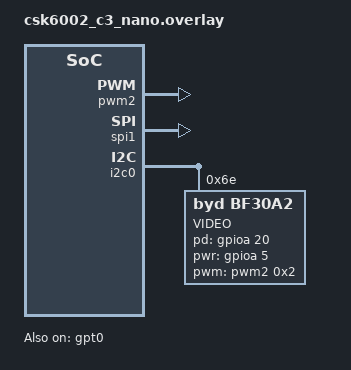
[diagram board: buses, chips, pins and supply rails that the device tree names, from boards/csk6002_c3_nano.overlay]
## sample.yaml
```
sample:
  description: Video ap sample, the simplest Zephyr
    application
  name: video ap
common:
    tags: introduction
    integration_platforms:
      - native_posix
    harness: console
    harness_config:
      type: one_line
      regex:
        - "video ap! (.*)"
```

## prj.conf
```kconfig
# nothing here
CONFIG_MINIMAL_LIBC_RAND=y
CONFIG_GPIO=y
CONFIG_I2C=y
CONFIG_SPI=y
CONFIG_DMA=y
CONFIG_PWM=y
CONFIG_VIDEO=y
CONFIG_VIDEO_BF30A2=y
CONFIG_KERNEL_MEM_POOL=y
CONFIG_STDOUT_CONSOLE=y
CONFIG_PRINTK=y
CONFIG_LOG=y
CONFIG_LOG_PRINTK=y
CONFIG_LOG_MODE_IMMEDIATE=y
CONFIG_PWM_LOG_LEVEL_DBG=y
CONFIG_SPI_SLAVE=y
CONFIG_SPI_RX_DMA=y
CONFIG_HEAP_MEM_POOL_SIZE=81920
CONFIG_MAIN_STACK_SIZE=40960

CONFIG_SPI_SLAVE=y
CONFIG_SPI_RX_DMA=y

CONFIG_VIDEO_BUFFER_POOL_SZ_MAX=30720
CONFIG_UART_INTERRUPT_DRIVEN=y
CONFIG_IPM=y
CONFIG_ASSERT=y

CONFIG_IDLE_STACK_SIZE=8192
CONFIG_ISR_STACK_SIZE=8192
```

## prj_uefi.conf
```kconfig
CONFIG_QEMU_UEFI_BOOT=y
CONFIG_BUILD_OUTPUT_EFI=y
CONFIG_SRAM_SIZE=204800
CONFIG_ACPI=y
```

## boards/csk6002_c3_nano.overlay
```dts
&csk6002_c3_nano_pinctrl{

                pinctrl_pwm2_default: pwm2_default{
                    pinctrls = <&pinmuxb 6 11>;
                };

                pinctrl_i2c0_scl_default: i2c0_scl_default{
                        pinctrls = <&pinmuxb 2 8>;
                };
                
                pinctrl_i2c0_sda_default: i2c0_sda_default{
                        pinctrls = <&pinmuxb 3 8>;
                };

                pinctrl_spi1_sclk_default: spi1_sclk_default {
                    pinctrls = < &pinmuxb 0 7 >;
                };

                pinctrl_spi1_mosi_default: spi1_mosi_default {
                    pinctrls = < &pinmuxb 1 7 >;
                };

                pinctrl_spi1_miso_default: spi1_miso_default {
                    pinctrls = < &pinmuxa 20 7 >;
                };

                pinctrl_spi1_cs_default: spi1_cs_default {
                    pinctrls = < &pinmuxa 9 7 >;
                };

};

&gpt0 {
	status = "okay";

    pwm5: pwm5 {
        status = "disabled";
    };

	pwm2: pwm2 {
        clock-prescaler = <1>;
        status = "okay";
        pinctrl-0 = <&pinctrl_pwm2_default>; 
        pinctrl-names = "default";
    };
};

&spi0 {
    status = "disabled";
};

&spi1 {
    status = "okay";
    spi-max-frequency = <100000000>;
    pinctrl-0 = <&pinctrl_spi1_sclk_default &pinctrl_spi1_mosi_default &pinctrl_spi1_miso_default &pinctrl_spi1_cs_default>; 
	pinctrl-names = "default";
};

&i2c0 {
        status = "okay";
        pinctrl-0 = <&pinctrl_i2c0_scl_default &pinctrl_i2c0_sda_default>; 
        pinctrl-names = "default";

        bf30a2: bf30a2@6e {
            compatible = "byd,bf30a2";
            status = "okay";
            label = "VIDEO";
            reg = <0x6e>;
            pd-gpios = <&gpioa 20 0>;
            pwr-gpios = <&gpioa 5 0>;
            product-id = <0x3b02>;
            pwms = <&pwm2 0x2 0x0>;
            xclk-freq = <25000>;
            spi = <&spi1>;
        };
};
```

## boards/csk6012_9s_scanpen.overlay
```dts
&i2c0 {
        status = "okay";
        pinctrl-0 = <&pinctrl_i2c0_scl_default &pinctrl_i2c0_sda_default>; 
        pinctrl-names = "default";

        bf30a2: bf30a2@6e {
            compatible = "byd,bf30a2";
            status = "okay";
            label = "VIDEO";
            reg = <0x6e>;
            pd-gpios = <&gpioa 1 0>;
            pwr-gpios = <&gpioa 9 0>;
            product-id = <0x3b02>;
            spi = <&spi0>;
            pwms = <&pwm2 0x2 0x0>;
            xclk-freq = <12500>;
            csk6-spec;
        };
};

&gpt0 {
	status = "okay";

	pwm2: pwm2 {
        clock-prescaler = <1>;
        status = "okay";
        pinctrl-0 = <&pinctrl_pwm2_default>; 
        pinctrl-names = "default";
    };
};

&csk6012_9s_scanpen_pinctrl {

                pinctrl_pwm2_default: pwm2_default{
                    pinctrls = <&pinmuxb 6 11>;
                };

                pinctrl_i2c0_scl_default: i2c0_scl_default{
                        pinctrls = <&pinmuxb 2 8>;
                };
                
                pinctrl_i2c0_sda_default: i2c0_sda_default{
                        pinctrls = <&pinmuxb 3 8>;
                };
};
```

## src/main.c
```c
/*
 * Copyright (c) 2012-2014 Wind River Systems, Inc.
 *
 * SPDX-License-Identifier: Apache-2.0
 */

#include <zephyr.h>
#include <sys/printk.h>

#include <cache.h>
#include <drivers/video.h>
#include <device.h>

#include "venus_ap.h"
#include "cmn_sysctrl_reg_venus.h"
#include "PSRAMManager.h"

#include <logging/log.h>
#include <drivers/uart.h>
#include <drivers/ipm.h>

LOG_MODULE_REGISTER(main, 4);

#define VIDEO_DEV DT_LABEL(DT_INST(0, byd_bf30a2))

#if !DT_PROP(DT_INST(0, byd_bf30a2), csk6_spec)
#define TEST_AT_CP 1
#else
#define TEST_AT_CP 0
#endif

#if !TEST_AT_CP

#define CP_BOOT_ADDRESS 0x60000000
#define SYSCTRL_RESET_CP (0xCAFE000B)
#define SYSCTRL_RELEASE_CP (0xCAFE100B)
#define SYSCTRL_RESET_NPU (0xCAFE000C)
#define CP_PSRAM_BASE (0x68400000)
#define AP_PSRAM_BASE (0x30000000)

#define CP_FW_ADDR (0x18000000 + 0x00200000)
#define CP_FW_LEN 500000

// void prepare_cp_run()
// {
// 	PSRAM_Initialize();

// 	SYSCFG_RegDef *cmn_sys_ctrl = (SYSCFG_RegDef *)CMN_SYSCTRL_BASE;

// 	// set boot address
// 	cmn_sys_ctrl->REG_CP_CTRL2.all = CP_BOOT_ADDRESS;
// 	cmn_sys_ctrl->REG_CP_CTRL1.bit.CP_STAT_VECTOR_SEL = 0x1;

// 	// stall HIFI4
// 	cmn_sys_ctrl->REG_CP_CTRL1.bit.CP_HIFI4_RUNSTALL = 0x1;

// 	// release CP & NPU
// 	cmn_sys_ctrl->REG_SW_RESET_CP.all = SYSCTRL_RELEASE_CP;
// 	if (cmn_sys_ctrl->REG_SW_RESET_NPU.all) { // = 1 NPU reset
// 		cmn_sys_ctrl->REG_SW_RESET_NPU.all = SYSCTRL_RESET_NPU;
// 	}

// 	__DMB();
//     printk("Copy Image, %X->%X, size:%u.\n", CP_FW_ADDR, AP_PSRAM_BASE, CP_FW_LEN);
//     memcpy((void *)AP_PSRAM_BASE, (void *)CP_FW_ADDR, CP_FW_LEN);

//     sys_cache_data_range((void *)AP_PSRAM_BASE, CP_FW_LEN, K_CACHE_WB);
// 	__DSB();

// 	// run cp
// 	cmn_sys_ctrl->REG_SW_RESET_CP.all = SYSCTRL_RESET_CP;
// 	cmn_sys_ctrl->REG_SW_RESET_CP.all = SYSCTRL_RELEASE_CP;
// 	cmn_sys_ctrl->REG_CP_CTRL1.bit.CP_HIFI4_RUNSTALL = 0x0;

// 	printk("Set CP boot address:%x.\n", CP_BOOT_ADDRESS);
// 	printk("Boot CP...\n");
// }

struct k_work_delayable dwork;

static void ipm_callback(const struct device *dev, void *context, uint32_t id, volatile void *data)
{
	printk("id=%d.\n", id);
	k_work_schedule(&dwork, K_MSEC(10));
}

static void _work(struct k_work *work)
{
	const struct device *video = device_get_binding(VIDEO_DEV);

	if (!device_is_ready(video)) {
		printk("ipm device is null.\n");
		return;
	}

	/* Start video capture */
	if (video_stream_start(video)) {
		printk("Unable to start video.\n");
		return;
	}

	printk("start video steam.\n");
}

void main(void)
{
	printk("Hello World! %s\n", CONFIG_BOARD);

    const struct device *video = device_get_binding(VIDEO_DEV);

	if (!device_is_ready(video)) {
		printk("ipm device is null.\n");
		return;
	}

	const struct device *ipm = DEVICE_DT_GET(DT_NODELABEL(mailbox0));
	prepare_cp_run();

	if (!device_is_ready(ipm)) {
		printk("ipm device is null.\n");
		return;
	}

	/* Recv cp msg by IPM */
	ipm_register_callback(ipm, ipm_callback, NULL);
	ipm_set_enabled(ipm, 1);

	/* define a delay work to start open video steam. */
	k_work_init_delayable(&dwork, _work);
    int i = 0;

	while (1) {
        printk("running, %d\n", i++);
		k_sleep(K_MSEC(1000));
	}
}

#else

void main(void)
{
	printk("Hello World! %s\n", CONFIG_BOARD);

    const struct device *video = device_get_binding(VIDEO_DEV);

	if (!device_is_ready(video)) {
		printk("ipm device is null.\n");
		return;
	}

	while (1) {
		k_sleep(K_MSEC(1000));
	}
}

static void test_thread_0(void *p1, void *p2, void *p3)
{
    const struct device *video = device_get_binding(VIDEO_DEV);

    while(1) {
        LOG_INF("start video steam.\n");
        /* Start video capture */
        if (video_stream_start(video)) {
            printk("Unable to start video.\n");
            return;
        }
        k_msleep(3 * 1000);
        LOG_INF("stop video steam.\n");
        if (video_stream_stop(video)) {
            printk("Unable to start video.\n");
            return;
        }
        k_msleep(3 * 1000);
    }
}

static void test_thread_1(void *p1, void *p2, void *p3)
{
    while(1) {
        const char *name = k_thread_name_get(k_current_get());
        LOG_INF("thread %s is running.", name);
        k_yield();
    }
}

static void test_thread_2(void *p1, void *p2, void *p3)
{
    struct video_buffer *buf = NULL;
    const struct device *video = device_get_binding(VIDEO_DEV);

    while(1) {
        int r = video_dequeue(video, VIDEO_EP_OUT, &buf, K_FOREVER);
        LOG_INF("video_dequeue r:%d, buf:%p", r, buf);
        if (r == 0 && buf != NULL) {
            video_enqueue(video, VIDEO_EP_OUT, buf);
        }
    }
}

K_THREAD_DEFINE(test_thread_0_thread, 1024,                \
			test_thread_0, NULL, NULL, NULL,               \
			-1, 0, 0);

K_THREAD_DEFINE(test_thread_1_thread, 1024,                \
			test_thread_1, NULL, NULL, NULL,               \
			0, 0, 0);

K_THREAD_DEFINE(test_thread_2_thread, 1024,                \
			test_thread_2, NULL, NULL, NULL,               \
			0 , 0, 0);

#endif
```
